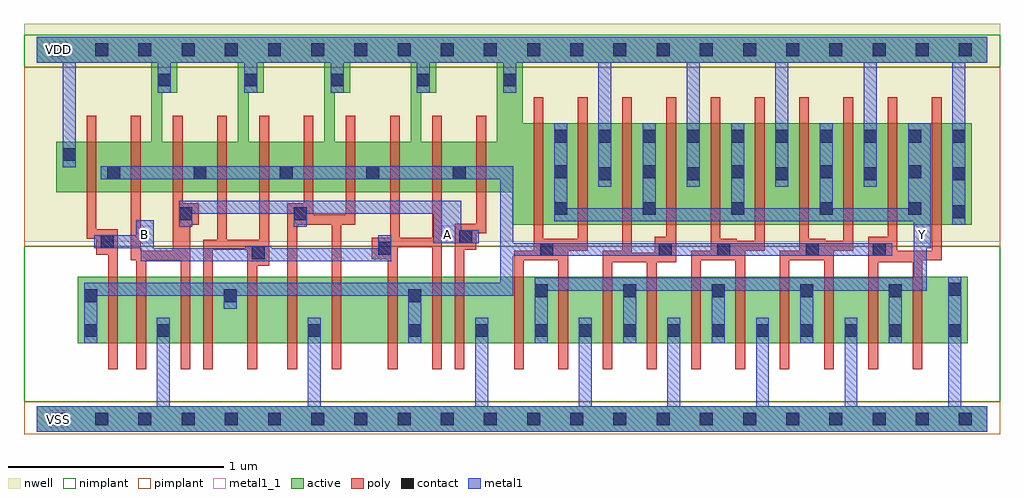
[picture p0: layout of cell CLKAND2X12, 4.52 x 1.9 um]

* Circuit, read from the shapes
.subckt CLKAND2X12 A B VDD VSS Y
M1 n1 B n2 VSS nfet w=0.31u l=0.045u
M2 VSS A n1 VSS nfet w=0.31u l=0.045u
M3 n3 A VSS VSS nfet w=0.31u l=0.045u
M4 n2 B n3 VSS nfet w=0.31u l=0.045u
M5 n4 B n2 VSS nfet w=0.31u l=0.045u
M6 VSS A n4 VSS nfet w=0.31u l=0.045u
M7 n5 A VSS VSS nfet w=0.31u l=0.045u
M8 n2 B n5 VSS nfet w=0.31u l=0.045u
M9 n6 B n2 VSS nfet w=0.31u l=0.045u
M10 VSS A n6 VSS nfet w=0.31u l=0.045u
M11 Y n2 VSS VSS nfet w=0.31u l=0.045u m=10
M12 n2 B VDD VDD pfet w=0.235u l=0.045u m=5
M13 VDD A n2 VDD pfet w=0.235u l=0.045u m=5
M14 Y n2 VDD VDD pfet w=0.47u l=0.045u m=10
.ends

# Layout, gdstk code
import gdstk
lib = gdstk.Library(unit=1e-6, precision=5e-10)
def R(c, l, rs):  # rectangles x0, y0, x1, y1
    for r in rs: c.add(gdstk.rectangle(r[:2], r[2:], *l))
def A(c, l, x, y, w, h, nx, ny, dx, dy):  # array of equal rectangles
    R(c, l, [(x+i*dx, y+j*dy, x+i*dx+w, y+j*dy+h) for i in range(nx) for j in range(ny)])
def P(c, l, *ps):  # polygons
    for p in ps: c.add(gdstk.Polygon(p, *l))
active = (1, 0)
nwell = (2, 0)
poly = (3, 0)
nimplant = (4, 0)
pimplant = (5, 0)
contact = (6, 0)
metal1 = (7, 0)
metal1_1 = (7, 1)

clkand2x12 = lib.new_cell('CLKAND2X12')
R(clkand2x12, active, [(0,-0.06,4.4,0.06), (0.19,0.35,4.31,0.66)])
P(clkand2x12, active, [(0,1.77),(4.4,1.77),(4.4,1.65),(2.25,1.65),(2.25,1.37),(4.33,1.37),(4.33,0.9),(2.2,0.9),(2.2,1.05),(0.09,1.05),(0.09,1.285),(0.53,1.285),(0.53,1.65),(0.65,1.65),(0.65,1.51),(0.58,1.51),(0.58,1.285),(0.93,1.285),(0.93,1.65),(1.05,1.65),(1.05,1.51),(0.98,1.51),(0.98,1.285),(1.33,1.285),(1.33,1.65),(1.45,1.65),(1.45,1.51),(1.38,1.51),(1.38,1.285),(1.73,1.285),(1.73,1.65),(1.85,1.65),(1.85,1.51),(1.78,1.51),(1.78,1.285),(2.13,1.285),(2.13,1.65),(0,1.65)])
R(clkand2x12, nwell, [(-0.06,0.82,4.46,1.83)])
P(clkand2x12, poly, [(0.23,1.405),(0.275,1.405),(0.275,0.88),(0.375,0.88),(0.375,0.23),(0.33,0.23),(0.33,0.76),(0.275,0.76),(0.275,0.835),(0.23,0.835)],
  [(0.435,1.405),(0.48,1.405),(0.48,0.78),(0.63,0.78),(0.63,1.405),(0.675,1.405),(0.675,1),(0.75,1),(0.75,0.9),(0.71,0.9),(0.71,0.23),(0.665,0.23),(0.665,0.735),(0.505,0.735),(0.505,0.23),(0.46,0.23),(0.46,0.735),(0.435,0.735)],
  [(0.835,1.405),(0.88,1.405),(0.88,0.83),(1.03,0.83),(1.03,1.405),(1.075,1.405),(1.075,0.71),(1.02,0.71),(1.02,0.23),(0.975,0.23),(0.975,0.785),(0.815,0.785),(0.815,0.23),(0.77,0.23),(0.77,0.83),(0.835,0.83)],
  [(1.235,1.405),(1.28,1.405),(1.28,0.945),(1.43,0.945),(1.43,1.405),(1.475,1.405),(1.475,0.9),(1.41,0.9),(1.41,0.23),(1.365,0.23),(1.365,0.9),(1.205,0.9),(1.205,0.23),(1.16,0.23),(1.16,1),(1.235,1)],
  [(1.635,1.405),(1.68,1.405),(1.68,0.84),(1.83,0.84),(1.83,1.405),(1.875,1.405),(1.875,0.23),(1.83,0.23),(1.83,0.795),(1.67,0.795),(1.67,0.23),(1.625,0.23),(1.625,0.74),(1.55,0.74),(1.55,0.84),(1.635,0.84)],
  [(2.3,1.49),(2.345,1.49),(2.345,0.835),(2.505,0.835),(2.505,1.49),(2.55,1.49),(2.55,0.78),(2.46,0.78),(2.46,0.23),(2.415,0.23),(2.415,0.735),(2.255,0.735),(2.255,0.23),(2.21,0.23),(2.21,0.78),(2.3,0.78)],
  [(2.71,1.49),(2.755,1.49),(2.755,0.77),(2.86,0.77),(2.86,0.845),(2.915,0.845),(2.915,1.49),(2.96,1.49),(2.96,0.725),(2.87,0.725),(2.87,0.23),(2.825,0.23),(2.825,0.725),(2.665,0.725),(2.665,0.23),(2.62,0.23),(2.62,0.78),(2.71,0.78)],
  [(3.12,1.49),(3.165,1.49),(3.165,0.835),(3.24,0.835),(3.24,0.825),(3.325,0.825),(3.325,1.49),(3.37,1.49),(3.37,0.78),(3.28,0.78),(3.28,0.23),(3.235,0.23),(3.235,0.735),(3.075,0.735),(3.075,0.23),(3.03,0.23),(3.03,0.78),(3.12,0.78)],
  [(3.53,1.49),(3.575,1.49),(3.575,0.835),(3.65,0.835),(3.65,0.825),(3.735,0.825),(3.735,1.49),(3.78,1.49),(3.78,0.78),(3.69,0.78),(3.69,0.23),(3.645,0.23),(3.645,0.735),(3.485,0.735),(3.485,0.23),(3.44,0.23),(3.44,0.78),(3.53,0.78)],
  [(3.94,1.49),(3.985,1.49),(3.985,0.78),(4.145,0.78),(4.145,1.49),(4.19,1.49),(4.19,0.735),(4.1,0.735),(4.1,0.23),(4.055,0.23),(4.055,0.725),(3.895,0.725),(3.895,0.23),(3.85,0.23),(3.85,0.845),(3.94,0.845)],
  [(2.035,1.405),(2.08,1.405),(2.08,0.86),(2.035,0.86),(2.035,0.785),(1.98,0.785),(1.98,0.23),(1.935,0.23),(1.935,0.905),(2.035,0.905)])
R(clkand2x12, nimplant, [(-0.06,0.08,4.46,0.8), (-0.06,1.63,4.46,1.78)])
R(clkand2x12, pimplant, [(-0.06,-0.07,4.46,0.08), (-0.06,0.8,4.46,1.63)])
A(clkand2x12, contact, 0.07, -0.03, 0.06, 0.06, 22, 2, 0.2, 1.71)
A(clkand2x12, contact, 2.305, 0.38, 0.06, 0.06, 9, 1, 0.205, 0)
A(clkand2x12, contact, 2.305, 0.565, 0.06, 0.06, 5, 1, 0.41, 0)
A(clkand2x12, contact, 2.395, 0.945, 0.06, 0.06, 5, 2, 0.41, 0.17)
A(clkand2x12, contact, 2.6, 1.105, 0.06, 0.06, 5, 1, 0.41, 0)
A(clkand2x12, contact, 0.325, 1.11, 0.06, 0.06, 5, 1, 0.4, 0)
A(clkand2x12, contact, 2.395, 1.28, 0.06, 0.06, 10, 1, 0.205, 0)
A(clkand2x12, contact, 0.56, 1.54, 0.06, 0.06, 5, 1, 0.4, 0)
R(clkand2x12, contact, [(0.22,0.38,0.28,0.44), (0.555,0.38,0.615,0.44), (1.255,0.38,1.315,0.44), (1.72,0.38,1.78,0.44), (2.03,0.38,2.09,0.44), (4.22,0.38,4.28,0.44), (0.22,0.54,0.28,0.6), (0.865,0.54,0.925,0.6), (1.72,0.54,1.78,0.6), (4.22,0.57,4.28,0.63), (0.995,0.74,1.055,0.8), (2.33,0.755,2.39,0.815), (2.88,0.755,2.94,0.815), (3.15,0.755,3.21,0.815), (3.56,0.755,3.62,0.815), (3.87,0.755,3.93,0.815), (1.58,0.76,1.64,0.82), (0.295,0.79,0.355,0.85), (1.955,0.815,2.015,0.875), (0.66,0.92,0.72,0.98), (1.19,0.92,1.25,0.98), (4.24,0.93,4.3,0.99), (0.12,1.195,0.18,1.255)])
P(clkand2x12, metal1, [(0.66,1.01),(1.965,1.01),(1.965,0.875),(2.045,0.875),(2.045,0.815),(1.835,0.815),(1.835,0.95),(1.25,0.95),(1.25,0.89),(1.19,0.89),(1.19,0.95),(0.72,0.95),(0.72,0.89),(0.66,0.89)],
  [(0.555,0.47),(0.615,0.47),(0.615,0.06),(1.255,0.06),(1.255,0.47),(1.315,0.47),(1.315,0.06),(2.03,0.06),(2.03,0.47),(2.09,0.47),(2.09,0.06),(2.51,0.06),(2.51,0.47),(2.57,0.47),(2.57,0.06),(2.92,0.06),(2.92,0.47),(2.98,0.47),(2.98,0.06),(3.33,0.06),(3.33,0.47),(3.39,0.47),(3.39,0.06),(3.74,0.06),(3.74,0.47),(3.8,0.47),(3.8,0.06),(4.22,0.06),(4.22,0.66),(4.28,0.66),(4.28,0.06),(4.4,0.06),(4.4,-0.06),(0,-0.06),(0,0.06),(0.555,0.06)],
  [(0,1.77),(4.4,1.77),(4.4,1.65),(4.3,1.65),(4.3,0.9),(4.24,0.9),(4.24,1.65),(3.89,1.65),(3.89,1.075),(3.83,1.075),(3.83,1.65),(3.48,1.65),(3.48,1.075),(3.42,1.075),(3.42,1.65),(3.07,1.65),(3.07,1.075),(3.01,1.075),(3.01,1.65),(2.66,1.65),(2.66,1.075),(2.6,1.075),(2.6,1.65),(2.22,1.65),(2.22,1.51),(2.16,1.51),(2.16,1.65),(1.82,1.65),(1.82,1.51),(1.76,1.51),(1.76,1.65),(1.42,1.65),(1.42,1.51),(1.36,1.51),(1.36,1.65),(1.02,1.65),(1.02,1.51),(0.96,1.51),(0.96,1.65),(0.62,1.65),(0.62,1.51),(0.56,1.51),(0.56,1.65),(0.18,1.65),(0.18,1.165),(0.12,1.165),(0.12,1.65),(0,1.65)],
  [(2.395,1.37),(2.455,1.37),(2.455,0.975),(2.805,0.975),(2.805,1.37),(2.865,1.37),(2.865,0.975),(3.215,0.975),(3.215,1.37),(3.275,1.37),(3.275,0.975),(3.625,0.975),(3.625,1.37),(3.685,1.37),(3.685,0.975),(4.035,0.975),(4.035,1.37),(4.14,1.37),(4.14,0.79),(4.12,0.79),(4.12,0.595),(4.005,0.595),(4.005,0.35),(3.945,0.35),(3.945,0.595),(3.595,0.595),(3.595,0.35),(3.535,0.35),(3.535,0.595),(3.185,0.595),(3.185,0.35),(3.125,0.35),(3.125,0.595),(2.775,0.595),(2.775,0.35),(2.715,0.35),(2.715,0.595),(2.365,0.595),(2.365,0.35),(2.305,0.35),(2.305,0.655),(4.06,0.655),(4.06,0.915),(2.395,0.915)],
  [(0.295,1.17),(2.205,1.17),(2.205,0.815),(3.96,0.815),(3.96,0.755),(2.205,0.755),(2.205,0.57),(1.78,0.57),(1.78,0.35),(1.72,0.35),(1.72,0.57),(0.925,0.57),(0.925,0.51),(0.865,0.51),(0.865,0.57),(0.28,0.57),(0.28,0.35),(0.22,0.35),(0.22,0.63),(2.145,0.63),(2.145,1.11),(0.295,1.11)],
  [(0.46,0.92),(0.54,0.92),(0.54,0.79),(0.965,0.79),(0.965,0.8),(1.085,0.8),(1.085,0.79),(1.58,0.79),(1.58,0.85),(1.64,0.85),(1.64,0.73),(0.48,0.73),(0.48,0.79),(0.265,0.79),(0.265,0.85),(0.46,0.85)])
R(clkand2x12, metal1_1, [(0.06,-0.04,0.14,0.04), (0.46,0.815,0.54,0.895), (1.86,0.815,1.94,0.895), (4.06,0.815,4.14,0.895), (0.06,1.67,0.14,1.75)])
clkand2x12.add(gdstk.Label('Y', (4.1,0.855), layer=7, texttype=1))
clkand2x12.add(gdstk.Label('A', (1.9,0.855), layer=7, texttype=1))
clkand2x12.add(gdstk.Label('B', (0.5,0.855), layer=7, texttype=1))
clkand2x12.add(gdstk.Label('VDD', (0.1,1.71), layer=7, texttype=1))
clkand2x12.add(gdstk.Label('VSS', (0.1,0), layer=7, texttype=1))
clkand2x12.add(gdstk.Label('CLKAND2X12', (0,0), layer=63, texttype=0))

lib.write_gds('CLKAND2X12.gds')
